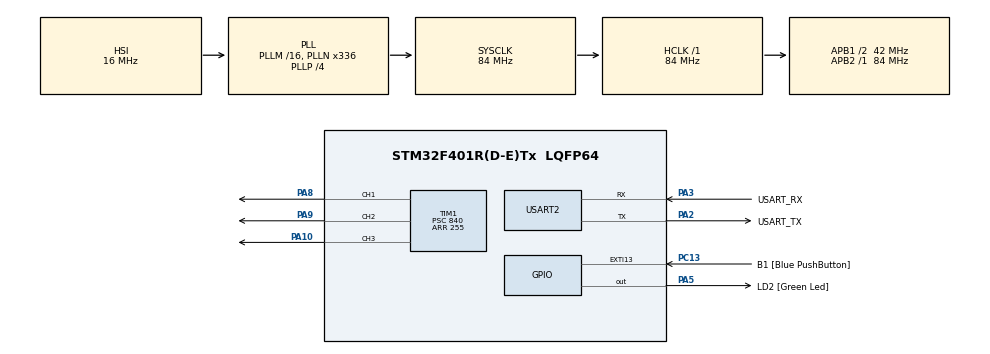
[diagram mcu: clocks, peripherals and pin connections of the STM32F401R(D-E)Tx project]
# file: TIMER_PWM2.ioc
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Mcu.Family=STM32F4
Mcu.Name=STM32F401R(D-E)Tx
Mcu.Package=LQFP64
NVIC.PriorityGroup=NVIC_PRIORITYGROUP_0
PA10.Signal=S_TIM1_CH3
PA13.GPIO_Label=TMS
PA13.Mode=Serial_Wire
PA13.Signal=SYS_JTMS-SWDIO
PA14.GPIO_Label=TCK
PA14.Mode=Serial_Wire
PA14.Signal=SYS_JTCK-SWCLK
PA2.GPIO_Label=USART_TX
PA2.GPIO_Mode=GPIO_MODE_AF_PP
PA2.GPIO_PuPd=GPIO_NOPULL
PA2.GPIO_Speed=GPIO_SPEED_FREQ_LOW
PA2.Mode=Asynchronous
PA2.Signal=USART2_TX
PA3.GPIO_Label=USART_RX
PA3.GPIO_Mode=GPIO_MODE_AF_PP
PA3.GPIO_PuPd=GPIO_NOPULL
PA3.GPIO_Speed=GPIO_SPEED_FREQ_LOW
PA3.Mode=Asynchronous
PA3.Signal=USART2_RX
PA5.GPIO_Label=LD2 [Green Led]
PA5.GPIO_Mode=GPIO_MODE_OUTPUT_PP
PA5.GPIO_PuPd=GPIO_NOPULL
PA5.GPIO_Speed=GPIO_SPEED_FREQ_LOW
PA5.Signal=GPIO_Output
PA8.Signal=S_TIM1_CH1
PA9.Signal=S_TIM1_CH2
PB3.GPIO_Label=SWO
PB3.Signal=SYS_JTDO-SWO
PC13-ANTI_TAMP.GPIO_Label=B1 [Blue PushButton]
PC13-ANTI_TAMP.GPIO_ModeDefaultEXTI=GPIO_MODE_IT_FALLING
PC13-ANTI_TAMP.GPIO_PuPd=GPIO_NOPULL
PC13-ANTI_TAMP.Signal=GPXTI13
PC14-OSC32_IN.Mode=LSE-External-Oscillator
PC14-OSC32_IN.Signal=RCC_OSC32_IN
PC15-OSC32_OUT.Mode=LSE-External-Oscillator
PC15-OSC32_OUT.Signal=RCC_OSC32_OUT
PH0\ -\ OSC_IN.Mode=HSE-External-Clock-Source
PH0\ -\ OSC_IN.Signal=RCC_OSC_IN
PH1\ -\ OSC_OUT.Mode=HSE-External-Clock-Source
PH1\ -\ OSC_OUT.Signal=RCC_OSC_OUT
ProjectManager.HeapSize=0x200
ProjectManager.StackSize=0x400
ProjectManager.TargetToolchain=STM32CubeIDE
RCC.48MHZClocksFreq_Value=48000000
RCC.AHBFreq_Value=84000000
RCC.APB1CLKDivider=RCC_HCLK_DIV2
RCC.APB1Freq_Value=42000000
RCC.APB1TimFreq_Value=84000000
RCC.APB2Freq_Value=84000000
RCC.APB2TimFreq_Value=84000000
RCC.CortexFreq_Value=84000000
RCC.HCLKFreq_Value=84000000
RCC.HSE_VALUE=8000000
RCC.HSI_VALUE=16000000
RCC.PLLN=336
RCC.PLLP=RCC_PLLP_DIV4
RCC.PLLQ=7
RCC.SYSCLKFreq_VALUE=84000000
RCC.SYSCLKSource=RCC_SYSCLKSOURCE_PLLCLK
RCC.VCOOutputFreq_Value=336000000
SH.S_TIM1_CH1.0=TIM1_CH1,PWM Generation1 CH1
SH.S_TIM1_CH2.0=TIM1_CH2,PWM Generation2 CH2
SH.S_TIM1_CH3.0=TIM1_CH3,PWM Generation3 CH3
TIM1.Channel-PWM\ Generation1\ CH1=TIM_CHANNEL_1
TIM1.Channel-PWM\ Generation2\ CH2=TIM_CHANNEL_2
TIM1.Channel-PWM\ Generation3\ CH3=TIM_CHANNEL_3
TIM1.Period=255
TIM1.Prescaler=840
TIM1.Pulse-PWM\ Generation2\ CH2=60
TIM1.Pulse-PWM\ Generation3\ CH3=60
USART2.VirtualMode=VM_ASYNC
VP_TIM1_VS_ClockSourceINT.Mode=Internal
board=NUCLEO-F401RE

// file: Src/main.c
/* USER CODE BEGIN Header */
/**
  ******************************************************************************
  * @file           : main.c
  * @brief          : Main program body
  ******************************************************************************
  * @attention
  *
  * <h2><center>&copy; Copyright (c) 2020 STMicroelectronics.
  * All rights reserved.</center></h2>
  *
  * This software component is licensed by ST under BSD 3-Clause license,
  * the "License"; You may not use this file except in compliance with the
  * License. You may obtain a copy of the License at:
  *                        opensource.org/licenses/BSD-3-Clause
  *
  ******************************************************************************
  */
/* USER CODE END Header */

#include "main.h"

TIM_HandleTypeDef htim1;
TIM_HandleTypeDef htim2;
TIM_HandleTypeDef htim3;

UART_HandleTypeDef huart2;

void SystemClock_Config(void);
static void MX_GPIO_Init(void);
static void MX_USART2_UART_Init(void);
static void MX_TIM1_Init(void);

int main(void)
{
  /* USER CODE BEGIN 1 */
  uint8_t r=0, g=0, b=0;
  /* USER CODE END 1 */

  /* MCU Configuration--------------------------------------------------------*/

  /* Reset of all peripherals, Initializes the Flash interface and the Systick. */
  HAL_Init();

  /* Configure the system clock */
  SystemClock_Config();

  /* Initialize all configured peripherals */
  MX_GPIO_Init();
  MX_USART2_UART_Init();
  MX_TIM1_Init();
  /* USER CODE BEGIN 2 */
  HAL_TIM_PWM_Start(&htim1, TIM_CHANNEL_1);
  HAL_TIM_PWM_Start(&htim1, TIM_CHANNEL_2);
  HAL_TIM_PWM_Start(&htim1, TIM_CHANNEL_3);

  __HAL_TIM_SET_COMPARE(&htim1, TIM_CHANNEL_1, b);
  __HAL_TIM_SET_COMPARE(&htim1, TIM_CHANNEL_2, g);
  __HAL_TIM_SET_COMPARE(&htim1, TIM_CHANNEL_3, r);
  /* USER CODE END 2 */

  /* Infinite loop */
  while (1)
  {

    /* USER CODE BEGIN 3 */
	  for(r = 0; r<255; r++)
	  {
		  __HAL_TIM_SET_COMPARE(&htim1, TIM_CHANNEL_3, r);
		  HAL_Delay(50);
	  }
	  r=0;
	  __HAL_TIM_SET_COMPARE(&htim1, TIM_CHANNEL_3, r);
	  for(g = 0; g<255; g++)
	  {
		  __HAL_TIM_SET_COMPARE(&htim1, TIM_CHANNEL_2, g);
		  HAL_Delay(50);
	  }
	  g=0;
	  __HAL_TIM_SET_COMPARE(&htim1, TIM_CHANNEL_2, g);
	  for(b = 0; b<255; b++)
	  {
		  __HAL_TIM_SET_COMPARE(&htim1, TIM_CHANNEL_1, b);
		  HAL_Delay(50);
	  }
	  b=0;
	  __HAL_TIM_SET_COMPARE(&htim1, TIM_CHANNEL_1, b);
  }
  /* USER CODE END 3 */
}

void SystemClock_Config(void)
{
  RCC_OscInitTypeDef RCC_OscInitStruct = {0};
  RCC_ClkInitTypeDef RCC_ClkInitStruct = {0};

  /** Configure the main internal regulator output voltage
  */
  __HAL_RCC_PWR_CLK_ENABLE();
  __HAL_PWR_VOLTAGESCALING_CONFIG(PWR_REGULATOR_VOLTAGE_SCALE2);
  /** Initializes the CPU, AHB and APB busses clocks
  */
  RCC_OscInitStruct.OscillatorType = RCC_OSCILLATORTYPE_HSI;
  RCC_OscInitStruct.HSIState = RCC_HSI_ON;
  RCC_OscInitStruct.HSICalibrationValue = RCC_HSICALIBRATION_DEFAULT;
  RCC_OscInitStruct.PLL.PLLState = RCC_PLL_ON;
  RCC_OscInitStruct.PLL.PLLSource = RCC_PLLSOURCE_HSI;
  RCC_OscInitStruct.PLL.PLLM = 16;
  RCC_OscInitStruct.PLL.PLLN = 336;
  RCC_OscInitStruct.PLL.PLLP = RCC_PLLP_DIV4;
  RCC_OscInitStruct.PLL.PLLQ = 7;
  if (HAL_RCC_OscConfig(&RCC_OscInitStruct) != HAL_OK)
  {
    Error_Handler();
  }
  /** Initializes the CPU, AHB and APB busses clocks
  */
  RCC_ClkInitStruct.ClockType = RCC_CLOCKTYPE_HCLK|RCC_CLOCKTYPE_SYSCLK
                              |RCC_CLOCKTYPE_PCLK1|RCC_CLOCKTYPE_PCLK2;
  RCC_ClkInitStruct.SYSCLKSource = RCC_SYSCLKSOURCE_PLLCLK;
  RCC_ClkInitStruct.AHBCLKDivider = RCC_SYSCLK_DIV1;
  RCC_ClkInitStruct.APB1CLKDivider = RCC_HCLK_DIV2;
  RCC_ClkInitStruct.APB2CLKDivider = RCC_HCLK_DIV1;

  if (HAL_RCC_ClockConfig(&RCC_ClkInitStruct, FLASH_LATENCY_2) != HAL_OK)
  {
    Error_Handler();
  }
}

static void MX_TIM1_Init(void)
{

  TIM_ClockConfigTypeDef sClockSourceConfig = {0};
  TIM_MasterConfigTypeDef sMasterConfig = {0};
  TIM_OC_InitTypeDef sConfigOC = {0};
  TIM_BreakDeadTimeConfigTypeDef sBreakDeadTimeConfig = {0};

  htim1.Instance = TIM1;
  htim1.Init.Prescaler = 840;
  htim1.Init.CounterMode = TIM_COUNTERMODE_UP;
  htim1.Init.Period = 255;
  htim1.Init.ClockDivision = TIM_CLOCKDIVISION_DIV1;
  htim1.Init.RepetitionCounter = 0;
  htim1.Init.AutoReloadPreload = TIM_AUTORELOAD_PRELOAD_DISABLE;
  if (HAL_TIM_Base_Init(&htim1) != HAL_OK)
  {
    Error_Handler();
  }
  sClockSourceConfig.ClockSource = TIM_CLOCKSOURCE_INTERNAL;
  if (HAL_TIM_ConfigClockSource(&htim1, &sClockSourceConfig) != HAL_OK)
  {
    Error_Handler();
  }
  if (HAL_TIM_PWM_Init(&htim1) != HAL_OK)
  {
    Error_Handler();
  }
  sMasterConfig.MasterOutputTrigger = TIM_TRGO_RESET;
  sMasterConfig.MasterSlaveMode = TIM_MASTERSLAVEMODE_DISABLE;
  if (HAL_TIMEx_MasterConfigSynchronization(&htim1, &sMasterConfig) != HAL_OK)
  {
    Error_Handler();
  }
  sConfigOC.OCMode = TIM_OCMODE_PWM1;
  sConfigOC.Pulse = 0;
  sConfigOC.OCPolarity = TIM_OCPOLARITY_HIGH;
  sConfigOC.OCNPolarity = TIM_OCNPOLARITY_HIGH;
  sConfigOC.OCFastMode = TIM_OCFAST_DISABLE;
  sConfigOC.OCIdleState = TIM_OCIDLESTATE_RESET;
  sConfigOC.OCNIdleState = TIM_OCNIDLESTATE_RESET;
  if (HAL_TIM_PWM_ConfigChannel(&htim1, &sConfigOC, TIM_CHANNEL_1) != HAL_OK)
  {
    Error_Handler();
  }
  sConfigOC.Pulse = 60;
  if (HAL_TIM_PWM_ConfigChannel(&htim1, &sConfigOC, TIM_CHANNEL_2) != HAL_OK)
  {
    Error_Handler();
  }
  if (HAL_TIM_PWM_ConfigChannel(&htim1, &sConfigOC, TIM_CHANNEL_3) != HAL_OK)
  {
    Error_Handler();
  }
  sBreakDeadTimeConfig.OffStateRunMode = TIM_OSSR_DISABLE;
  sBreakDeadTimeConfig.OffStateIDLEMode = TIM_OSSI_DISABLE;
  sBreakDeadTimeConfig.LockLevel = TIM_LOCKLEVEL_OFF;
  sBreakDeadTimeConfig.DeadTime = 0;
  sBreakDeadTimeConfig.BreakState = TIM_BREAK_DISABLE;
  sBreakDeadTimeConfig.BreakPolarity = TIM_BREAKPOLARITY_HIGH;
  sBreakDeadTimeConfig.AutomaticOutput = TIM_AUTOMATICOUTPUT_DISABLE;
  if (HAL_TIMEx_ConfigBreakDeadTime(&htim1, &sBreakDeadTimeConfig) != HAL_OK)
  {
    Error_Handler();
  }
  HAL_TIM_MspPostInit(&htim1);

}

static void MX_USART2_UART_Init(void)
{

  huart2.Instance = USART2;
  huart2.Init.BaudRate = 115200;
  huart2.Init.WordLength = UART_WORDLENGTH_8B;
  huart2.Init.StopBits = UART_STOPBITS_1;
  huart2.Init.Parity = UART_PARITY_NONE;
  huart2.Init.Mode = UART_MODE_TX_RX;
  huart2.Init.HwFlowCtl = UART_HWCONTROL_NONE;
  huart2.Init.OverSampling = UART_OVERSAMPLING_16;
  if (HAL_UART_Init(&huart2) != HAL_OK)
  {
    Error_Handler();
  }

}

static void MX_GPIO_Init(void)
{
  GPIO_InitTypeDef GPIO_InitStruct = {0};

  /* GPIO Ports Clock Enable */
  __HAL_RCC_GPIOC_CLK_ENABLE();
  __HAL_RCC_GPIOH_CLK_ENABLE();
  __HAL_RCC_GPIOA_CLK_ENABLE();
  __HAL_RCC_GPIOB_CLK_ENABLE();

  /*Configure GPIO pin Output Level */
  HAL_GPIO_WritePin(LD2_GPIO_Port, LD2_Pin, GPIO_PIN_RESET);

  /*Configure GPIO pin : B1_Pin */
  GPIO_InitStruct.Pin = B1_Pin;
  GPIO_InitStruct.Mode = GPIO_MODE_IT_FALLING;
  GPIO_InitStruct.Pull = GPIO_NOPULL;
  HAL_GPIO_Init(B1_GPIO_Port, &GPIO_InitStruct);

  /*Configure GPIO pin : LD2_Pin */
  GPIO_InitStruct.Pin = LD2_Pin;
  GPIO_InitStruct.Mode = GPIO_MODE_OUTPUT_PP;
  GPIO_InitStruct.Pull = GPIO_NOPULL;
  GPIO_InitStruct.Speed = GPIO_SPEED_FREQ_LOW;
  HAL_GPIO_Init(LD2_GPIO_Port, &GPIO_InitStruct);

}

void Error_Handler(void)
{
}

/************************ (C) COPYRIGHT STMicroelectronics *****END OF FILE****/
